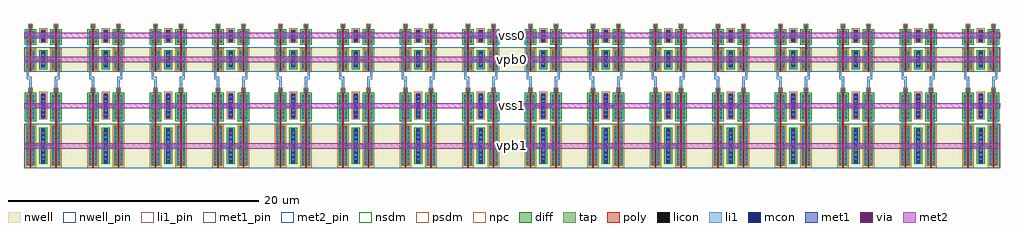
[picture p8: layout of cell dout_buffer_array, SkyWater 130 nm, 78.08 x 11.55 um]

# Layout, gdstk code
from math import pi, radians
import gdstk
lib = gdstk.Library(unit=1e-6, precision=1e-09)
def R(c, l, rs):  # rectangles x0, y0, x1, y1
    for r in rs: c.add(gdstk.rectangle(r[:2], r[2:], *l))
def A(c, l, x, y, w, h, nx, ny, dx, dy):  # array of equal rectangles
    R(c, l, [(x+i*dx, y+j*dy, x+i*dx+w, y+j*dy+h) for i in range(nx) for j in range(ny)])
nwell_pin = (64, 16)
nwell = (64, 20)
diff = (65, 20)
tap = (65, 44)
poly = (66, 20)
licon = (66, 44)
li1_pin = (67, 16)
li1 = (67, 20)
mcon = (67, 44)
met1_pin = (68, 16)
met1 = (68, 20)
via = (68, 44)
met2_pin = (69, 16)
met2 = (69, 20)
nsdm = (93, 44)
psdm = (94, 20)
npc = (95, 20)

polyc_1x1h = lib.new_cell('polyc_1x1h')
R(polyc_1x1h, poly, [(-0.08,-0.05,0.25,0.22)])
R(polyc_1x1h, licon, [(0,0,0.17,0.17)])
R(polyc_1x1h, li1, [(-0.08,0,0.25,0.17)])
R(polyc_1x1h, npc, [(-0.1,-0.1,0.27,0.27)])

ndiffc_1x3h = lib.new_cell('ndiffc_1x3h')
R(ndiffc_1x3h, diff, [(-0.06,-0.04,0.91,0.21)])
A(ndiffc_1x3h, licon, 0, 0, 0.17, 0.17, 3, 1, 0.34, 0)
R(ndiffc_1x3h, li1, [(-0.08,0,0.93,0.17)])
R(ndiffc_1x3h, nsdm, [(-0.185,-0.165,1.035,0.335)])

pdiffc_1x4h = lib.new_cell('pdiffc_1x4h')
R(pdiffc_1x4h, nwell, [(-0.24,-0.22,1.43,0.39)])
R(pdiffc_1x4h, diff, [(-0.06,-0.04,1.25,0.21)])
A(pdiffc_1x4h, licon, 0, 0, 0.17, 0.17, 4, 1, 0.34, 0)
R(pdiffc_1x4h, li1, [(-0.08,0,1.27,0.17)])
R(pdiffc_1x4h, psdm, [(-0.185,-0.165,1.375,0.335)])

ptx__nmos_svt_1000_150_1 = lib.new_cell('ptx__nmos_svt_1000_150_1__pmos_svt_1600_150_1')
R(ptx__nmos_svt_1000_150_1, nwell, [(1.34,-0.18,3.3,0.86)])
R(ptx__nmos_svt_1000_150_1, diff, [(0,0,1,0.68), (1.52,0,3.12,0.68)])
R(ptx__nmos_svt_1000_150_1, poly, [(-0.19,0.265,3.25,0.415)])
R(ptx__nmos_svt_1000_150_1, nsdm, [(-0.125,-0.125,1.125,0.805)])
R(ptx__nmos_svt_1000_150_1, psdm, [(1.395,-0.125,3.245,0.805)])
R(ptx__nmos_svt_1000_150_1, npc, [(-0.54,0.155,-0.17,0.525)])
ptx__nmos_svt_1000_150_1.add(gdstk.Reference(polyc_1x1h, (-0.44,0.255)))
ptx__nmos_svt_1000_150_1.add(gdstk.Reference(ndiffc_1x3h, (0.075,0.04)))
ptx__nmos_svt_1000_150_1.add(gdstk.Reference(pdiffc_1x4h, (1.725,0.04)))
ptx__nmos_svt_1000_150_1.add(gdstk.Reference(ndiffc_1x3h, (0.075,0.47)))
ptx__nmos_svt_1000_150_1.add(gdstk.Reference(pdiffc_1x4h, (1.725,0.47)))

dout_buffer_array_cell_i = lib.new_cell('dout_buffer_array_cell_inv1')
R(dout_buffer_array_cell_i, li1, [(-0.005,0.47,2.995,0.64)])
dout_buffer_array_cell_i.add(gdstk.Reference(ptx__nmos_svt_1000_150_1, (0,0)))

ndiffc_1x6h = lib.new_cell('ndiffc_1x6h')
R(ndiffc_1x6h, diff, [(-0.06,-0.04,1.93,0.21)])
A(ndiffc_1x6h, licon, 0, 0, 0.17, 0.17, 6, 1, 0.34, 0)
R(ndiffc_1x6h, li1, [(-0.08,0,1.95,0.17)])
R(ndiffc_1x6h, nsdm, [(-0.185,-0.165,2.055,0.335)])

pdiffc_1x9h = lib.new_cell('pdiffc_1x9h')
R(pdiffc_1x9h, nwell, [(-0.24,-0.22,3.13,0.39)])
R(pdiffc_1x9h, diff, [(-0.06,-0.04,2.95,0.21)])
A(pdiffc_1x9h, licon, 0, 0, 0.17, 0.17, 9, 1, 0.34, 0)
R(pdiffc_1x9h, li1, [(-0.08,0,2.97,0.17)])
R(pdiffc_1x9h, psdm, [(-0.185,-0.165,3.075,0.335)])

ptx__nmos_svt_2000_150_1 = lib.new_cell('ptx__nmos_svt_2000_150_1__pmos_svt_3200_150_1')
R(ptx__nmos_svt_2000_150_1, nwell, [(2.34,-0.18,5.9,0.86)])
R(ptx__nmos_svt_2000_150_1, diff, [(0,0,2,0.68), (2.52,0,5.72,0.68)])
R(ptx__nmos_svt_2000_150_1, poly, [(-0.19,0.265,5.85,0.415)])
R(ptx__nmos_svt_2000_150_1, nsdm, [(-0.125,-0.125,2.125,0.805)])
R(ptx__nmos_svt_2000_150_1, psdm, [(2.395,-0.125,5.845,0.805)])
R(ptx__nmos_svt_2000_150_1, npc, [(-0.54,0.155,-0.17,0.525)])
ptx__nmos_svt_2000_150_1.add(gdstk.Reference(polyc_1x1h, (-0.44,0.255)))
ptx__nmos_svt_2000_150_1.add(gdstk.Reference(ndiffc_1x6h, (0.065,0.04)))
ptx__nmos_svt_2000_150_1.add(gdstk.Reference(pdiffc_1x9h, (2.675,0.04)))
ptx__nmos_svt_2000_150_1.add(gdstk.Reference(ndiffc_1x6h, (0.065,0.47)))
ptx__nmos_svt_2000_150_1.add(gdstk.Reference(pdiffc_1x9h, (2.675,0.47)))

c_dout_buffer_array_cell_i = lib.new_cell('dout_buffer_array_cell_inv2')
R(c_dout_buffer_array_cell_i, li1, [(-0.015,0.47,5.645,0.64)])
c_dout_buffer_array_cell_i.add(gdstk.Reference(ptx__nmos_svt_2000_150_1, (0,0)))

ptap_1x3v = lib.new_cell('ptap_1x3v')
R(ptap_1x3v, tap, [(-0.04,-0.12,0.89,0.29)])
A(ptap_1x3v, licon, 0, 0, 0.17, 0.17, 3, 1, 0.34, 0)
R(ptap_1x3v, li1, [(0,-0.08,0.85,0.25)])
R(ptap_1x3v, psdm, [(-0.165,-0.245,1.015,0.415)])

viali_1x3v = lib.new_cell('viali_1x3v')
R(viali_1x3v, li1, [(0,0,0.89,0.17)])
A(viali_1x3v, mcon, 0, 0, 0.17, 0.17, 3, 1, 0.36, 0)
R(viali_1x3v, met1, [(-0.03,-0.06,0.92,0.23)])

col_inv_ptap_cell_3 = lib.new_cell('col_inv_ptap_cell_3')
col_inv_ptap_cell_3.add(gdstk.Reference(ptap_1x3v, (0,0)))
col_inv_ptap_cell_3.add(gdstk.Reference(viali_1x3v, (-0.02,0)))

ntap_1x4v = lib.new_cell('ntap_1x4v')
R(ntap_1x4v, tap, [(-0.04,-0.12,1.23,0.29)])
A(ntap_1x4v, licon, 0, 0, 0.17, 0.17, 4, 1, 0.34, 0)
R(ntap_1x4v, li1, [(0,-0.08,1.19,0.25)])
R(ntap_1x4v, nsdm, [(-0.165,-0.245,1.355,0.415)])

viali_1x4v = lib.new_cell('viali_1x4v')
R(viali_1x4v, li1, [(0,0,1.25,0.17)])
A(viali_1x4v, mcon, 0, 0, 0.17, 0.17, 4, 1, 0.36, 0)
R(viali_1x4v, met1, [(-0.03,-0.06,1.28,0.23)])

col_inv_ntap_cell_4 = lib.new_cell('col_inv_ntap_cell_4')
col_inv_ntap_cell_4.add(gdstk.Reference(ntap_1x4v, (0,0)))
col_inv_ntap_cell_4.add(gdstk.Reference(viali_1x4v, (-0.03,0)))

ptap_1x6v = lib.new_cell('ptap_1x6v')
R(ptap_1x6v, tap, [(-0.04,-0.12,1.91,0.29)])
A(ptap_1x6v, licon, 0, 0, 0.17, 0.17, 6, 1, 0.34, 0)
R(ptap_1x6v, li1, [(0,-0.08,1.87,0.25)])
R(ptap_1x6v, psdm, [(-0.165,-0.245,2.035,0.415)])

viali_1x6v = lib.new_cell('viali_1x6v')
R(viali_1x6v, li1, [(0,0,1.97,0.17)])
A(viali_1x6v, mcon, 0, 0, 0.17, 0.17, 6, 1, 0.36, 0)
R(viali_1x6v, met1, [(-0.03,-0.06,2,0.23)])

col_inv_ptap_cell_6 = lib.new_cell('col_inv_ptap_cell_6')
col_inv_ptap_cell_6.add(gdstk.Reference(ptap_1x6v, (0,0)))
col_inv_ptap_cell_6.add(gdstk.Reference(viali_1x6v, (-0.05,0)))

ntap_1x8v = lib.new_cell('ntap_1x8v')
R(ntap_1x8v, tap, [(-0.04,-0.12,2.59,0.29)])
A(ntap_1x8v, licon, 0, 0, 0.17, 0.17, 8, 1, 0.34, 0)
R(ntap_1x8v, li1, [(0,-0.08,2.55,0.25)])
R(ntap_1x8v, nsdm, [(-0.165,-0.245,2.715,0.415)])

viali_1x8v = lib.new_cell('viali_1x8v')
R(viali_1x8v, li1, [(0,0,2.69,0.17)])
A(viali_1x8v, mcon, 0, 0, 0.17, 0.17, 8, 1, 0.36, 0)
R(viali_1x8v, met1, [(-0.03,-0.06,2.72,0.23)])

col_inv_ntap_cell_8 = lib.new_cell('col_inv_ntap_cell_8')
col_inv_ntap_cell_8.add(gdstk.Reference(ntap_1x8v, (0,0)))
col_inv_ntap_cell_8.add(gdstk.Reference(viali_1x8v, (-0.07,0)))

dout_buffer_array_cell_r = lib.new_cell('dout_buffer_array_cell_route')
R(dout_buffer_array_cell_r, li1, [(-0.005,0.04,2.995,0.21), (2.995,0.04,3.705,0.21), (3.705,0.04,3.875,0.425), (3.875,0.255,4.59,0.425), (0.315,0.47,0.485,1.445), (2.235,0.47,2.405,1.445), (5.925,0.47,6.095,1.445), (9.145,0.47,9.315,1.445), (-0.025,1.195,0.825,1.525), (-0.025,1.195,0.825,1.525), (1.725,1.195,2.915,1.525), (1.725,1.195,2.915,1.525), (5.075,1.195,6.945,1.525), (5.075,1.195,6.945,1.525), (7.955,1.195,10.505,1.525), (7.955,1.195,10.505,1.525), (0.315,1.275,0.485,2.25), (2.235,1.275,2.405,2.25), (5.925,1.275,6.095,2.25), (9.145,1.275,9.315,2.25), (3.705,2.295,3.875,2.68), (3.875,2.295,4.59,2.465), (-0.005,2.51,2.995,2.68), (2.995,2.51,3.705,2.68)])

dout_buffer_array_cell = lib.new_cell('dout_buffer_array_cell')
R(dout_buffer_array_cell, nwell_pin, [(1.34,-0.18,3.3,2.9), (7.45,-0.18,11.01,2.9)])
R(dout_buffer_array_cell, nwell, [(1.34,-0.18,3.3,2.9), (7.45,-0.18,11.01,2.9)])
R(dout_buffer_array_cell, li1_pin, [(5.095,0.04,10.755,0.21), (-0.52,0.255,-0.19,0.425), (-0.52,2.295,-0.19,2.465), (5.095,2.51,10.755,2.68)])
R(dout_buffer_array_cell, met1_pin, [(-0.075,1.215,0.875,1.505), (1.665,1.215,2.975,1.505), (4.995,1.215,7.025,1.505), (7.855,1.215,10.605,1.505)])
dout_buffer_array_cell.add(gdstk.Reference(dout_buffer_array_cell_i, (0,0.68), x_reflection=True))
dout_buffer_array_cell.add(gdstk.Reference(c_dout_buffer_array_cell_i, (5.11,0.68), x_reflection=True))
dout_buffer_array_cell.add(gdstk.Reference(dout_buffer_array_cell_i, (0,2.04)))
dout_buffer_array_cell.add(gdstk.Reference(c_dout_buffer_array_cell_i, (5.11,2.04)))
dout_buffer_array_cell.add(gdstk.Reference(col_inv_ptap_cell_3, (-0.025,1.275)))
dout_buffer_array_cell.add(gdstk.Reference(col_inv_ntap_cell_4, (1.725,1.275)))
dout_buffer_array_cell.add(gdstk.Reference(col_inv_ptap_cell_6, (5.075,1.275)))
dout_buffer_array_cell.add(gdstk.Reference(col_inv_ntap_cell_8, (7.955,1.275)))
dout_buffer_array_cell.add(gdstk.Reference(dout_buffer_array_cell_r, (0,0)))
dout_buffer_array_cell.add(gdstk.Label('din1', (-0.355,0.34), layer=67, texttype=16))
dout_buffer_array_cell.add(gdstk.Label('dout1', (7.925,0.125), layer=67, texttype=16))
dout_buffer_array_cell.add(gdstk.Label('din2', (-0.355,2.38), layer=67, texttype=16))
dout_buffer_array_cell.add(gdstk.Label('dout2', (7.925,2.595), layer=67, texttype=16))
dout_buffer_array_cell.add(gdstk.Label('vpb0', (2.32,1.36), layer=64, texttype=16))
dout_buffer_array_cell.add(gdstk.Label('vpb1', (9.23,1.36), layer=64, texttype=16))
dout_buffer_array_cell.add(gdstk.Label('vss0', (0.4,1.36), layer=68, texttype=16))
dout_buffer_array_cell.add(gdstk.Label('vdd0', (2.32,1.36), layer=68, texttype=16))
dout_buffer_array_cell.add(gdstk.Label('vss1', (6.01,1.36), layer=68, texttype=16))
dout_buffer_array_cell.add(gdstk.Label('vdd1', (9.23,1.36), layer=68, texttype=16))

dout_buffer_array_array = lib.new_cell('dout_buffer_array_array')
dout_buffer_array_array.add(gdstk.Reference(dout_buffer_array_cell, (0,0)))
dout_buffer_array_array.add(gdstk.Reference(dout_buffer_array_cell, (0,5)))
dout_buffer_array_array.add(gdstk.Reference(dout_buffer_array_cell, (0,10)))
dout_buffer_array_array.add(gdstk.Reference(dout_buffer_array_cell, (0,15)))
dout_buffer_array_array.add(gdstk.Reference(dout_buffer_array_cell, (0,20)))
dout_buffer_array_array.add(gdstk.Reference(dout_buffer_array_cell, (0,25)))
dout_buffer_array_array.add(gdstk.Reference(dout_buffer_array_cell, (0,30)))
dout_buffer_array_array.add(gdstk.Reference(dout_buffer_array_cell, (0,35)))
dout_buffer_array_array.add(gdstk.Reference(dout_buffer_array_cell, (0,40)))
dout_buffer_array_array.add(gdstk.Reference(dout_buffer_array_cell, (0,45)))
dout_buffer_array_array.add(gdstk.Reference(dout_buffer_array_cell, (0,50)))
dout_buffer_array_array.add(gdstk.Reference(dout_buffer_array_cell, (0,55)))
dout_buffer_array_array.add(gdstk.Reference(dout_buffer_array_cell, (0,60)))
dout_buffer_array_array.add(gdstk.Reference(dout_buffer_array_cell, (0,65)))
dout_buffer_array_array.add(gdstk.Reference(dout_buffer_array_cell, (0,70)))
dout_buffer_array_array.add(gdstk.Reference(dout_buffer_array_cell, (0,75)))

via1_1x1v = lib.new_cell('via1_1x1v')
R(via1_1x1v, met1, [(-0.055,-0.085,0.205,0.235)])
R(via1_1x1v, via, [(0,0,0.15,0.15)])
R(via1_1x1v, met2, [(-0.055,-0.085,0.205,0.235)])

dout_buffer_array_route = lib.new_cell('dout_buffer_array_route')
R(dout_buffer_array_route, met2, [(-0.18,-9.44,77.9,-9.02), (-0.18,-6.22,77.9,-5.8), (-0.18,-2.53,77.9,-2.11), (-0.18,-0.61,77.9,-0.19)])
dout_buffer_array_route.add(gdstk.Reference(via1_1x1v, (1.285,-0.475)))
dout_buffer_array_route.add(gdstk.Reference(via1_1x1v, (6.285,-0.475)))
dout_buffer_array_route.add(gdstk.Reference(via1_1x1v, (11.285,-0.475)))
dout_buffer_array_route.add(gdstk.Reference(via1_1x1v, (16.285,-0.475)))
dout_buffer_array_route.add(gdstk.Reference(via1_1x1v, (21.285,-0.475)))
dout_buffer_array_route.add(gdstk.Reference(via1_1x1v, (26.285,-0.475)))
dout_buffer_array_route.add(gdstk.Reference(via1_1x1v, (31.285,-0.475)))
dout_buffer_array_route.add(gdstk.Reference(via1_1x1v, (36.285,-0.475)))
dout_buffer_array_route.add(gdstk.Reference(via1_1x1v, (41.285,-0.475)))
dout_buffer_array_route.add(gdstk.Reference(via1_1x1v, (46.285,-0.475)))
dout_buffer_array_route.add(gdstk.Reference(via1_1x1v, (51.285,-0.475)))
dout_buffer_array_route.add(gdstk.Reference(via1_1x1v, (56.285,-0.475)))
dout_buffer_array_route.add(gdstk.Reference(via1_1x1v, (61.285,-0.475)))
dout_buffer_array_route.add(gdstk.Reference(via1_1x1v, (66.285,-0.475)))
dout_buffer_array_route.add(gdstk.Reference(via1_1x1v, (71.285,-0.475)))
dout_buffer_array_route.add(gdstk.Reference(via1_1x1v, (76.285,-0.475)))
dout_buffer_array_route.add(gdstk.Reference(via1_1x1v, (1.285,-2.395)))
dout_buffer_array_route.add(gdstk.Reference(via1_1x1v, (6.285,-2.395)))
dout_buffer_array_route.add(gdstk.Reference(via1_1x1v, (11.285,-2.395)))
dout_buffer_array_route.add(gdstk.Reference(via1_1x1v, (16.285,-2.395)))
dout_buffer_array_route.add(gdstk.Reference(via1_1x1v, (21.285,-2.395)))
dout_buffer_array_route.add(gdstk.Reference(via1_1x1v, (26.285,-2.395)))
dout_buffer_array_route.add(gdstk.Reference(via1_1x1v, (31.285,-2.395)))
dout_buffer_array_route.add(gdstk.Reference(via1_1x1v, (36.285,-2.395)))
dout_buffer_array_route.add(gdstk.Reference(via1_1x1v, (41.285,-2.395)))
dout_buffer_array_route.add(gdstk.Reference(via1_1x1v, (46.285,-2.395)))
dout_buffer_array_route.add(gdstk.Reference(via1_1x1v, (51.285,-2.395)))
dout_buffer_array_route.add(gdstk.Reference(via1_1x1v, (56.285,-2.395)))
dout_buffer_array_route.add(gdstk.Reference(via1_1x1v, (61.285,-2.395)))
dout_buffer_array_route.add(gdstk.Reference(via1_1x1v, (66.285,-2.395)))
dout_buffer_array_route.add(gdstk.Reference(via1_1x1v, (71.285,-2.395)))
dout_buffer_array_route.add(gdstk.Reference(via1_1x1v, (76.285,-2.395)))
dout_buffer_array_route.add(gdstk.Reference(via1_1x1v, (1.285,-6.085)))
dout_buffer_array_route.add(gdstk.Reference(via1_1x1v, (6.285,-6.085)))
dout_buffer_array_route.add(gdstk.Reference(via1_1x1v, (11.285,-6.085)))
dout_buffer_array_route.add(gdstk.Reference(via1_1x1v, (16.285,-6.085)))
dout_buffer_array_route.add(gdstk.Reference(via1_1x1v, (21.285,-6.085)))
dout_buffer_array_route.add(gdstk.Reference(via1_1x1v, (26.285,-6.085)))
dout_buffer_array_route.add(gdstk.Reference(via1_1x1v, (31.285,-6.085)))
dout_buffer_array_route.add(gdstk.Reference(via1_1x1v, (36.285,-6.085)))
dout_buffer_array_route.add(gdstk.Reference(via1_1x1v, (41.285,-6.085)))
dout_buffer_array_route.add(gdstk.Reference(via1_1x1v, (46.285,-6.085)))
dout_buffer_array_route.add(gdstk.Reference(via1_1x1v, (51.285,-6.085)))
dout_buffer_array_route.add(gdstk.Reference(via1_1x1v, (56.285,-6.085)))
dout_buffer_array_route.add(gdstk.Reference(via1_1x1v, (61.285,-6.085)))
dout_buffer_array_route.add(gdstk.Reference(via1_1x1v, (66.285,-6.085)))
dout_buffer_array_route.add(gdstk.Reference(via1_1x1v, (71.285,-6.085)))
dout_buffer_array_route.add(gdstk.Reference(via1_1x1v, (76.285,-6.085)))
dout_buffer_array_route.add(gdstk.Reference(via1_1x1v, (1.285,-9.305)))
dout_buffer_array_route.add(gdstk.Reference(via1_1x1v, (6.285,-9.305)))
dout_buffer_array_route.add(gdstk.Reference(via1_1x1v, (11.285,-9.305)))
dout_buffer_array_route.add(gdstk.Reference(via1_1x1v, (16.285,-9.305)))
dout_buffer_array_route.add(gdstk.Reference(via1_1x1v, (21.285,-9.305)))
dout_buffer_array_route.add(gdstk.Reference(via1_1x1v, (26.285,-9.305)))
dout_buffer_array_route.add(gdstk.Reference(via1_1x1v, (31.285,-9.305)))
dout_buffer_array_route.add(gdstk.Reference(via1_1x1v, (36.285,-9.305)))
dout_buffer_array_route.add(gdstk.Reference(via1_1x1v, (41.285,-9.305)))
dout_buffer_array_route.add(gdstk.Reference(via1_1x1v, (46.285,-9.305)))
dout_buffer_array_route.add(gdstk.Reference(via1_1x1v, (51.285,-9.305)))
dout_buffer_array_route.add(gdstk.Reference(via1_1x1v, (56.285,-9.305)))
dout_buffer_array_route.add(gdstk.Reference(via1_1x1v, (61.285,-9.305)))
dout_buffer_array_route.add(gdstk.Reference(via1_1x1v, (66.285,-9.305)))
dout_buffer_array_route.add(gdstk.Reference(via1_1x1v, (71.285,-9.305)))
dout_buffer_array_route.add(gdstk.Reference(via1_1x1v, (76.285,-9.305)))

dout_buffer_array = lib.new_cell('dout_buffer_array')
R(dout_buffer_array, nwell_pin, [(-0.18,-11.01,77.9,-7.45), (-0.18,-3.3,77.9,-1.34)])
R(dout_buffer_array, nwell, [(-0.18,-11.01,77.9,-7.45), (-0.18,-3.3,77.9,-1.34)])
R(dout_buffer_array, met2_pin, [(-0.18,-9.44,77.9,-9.02), (-0.18,-6.22,77.9,-5.8), (-0.18,-2.53,77.9,-2.11), (-0.18,-0.61,77.9,-0.19)])
dout_buffer_array.add(gdstk.Reference(dout_buffer_array_array, (0,0), rotation=3*pi/2))
dout_buffer_array.add(gdstk.Reference(dout_buffer_array_route, (0,0)))
dout_buffer_array.add(gdstk.Label('vpb0', (38.86,-2.32), layer=64, texttype=16))
dout_buffer_array.add(gdstk.Label('vpb1', (38.86,-9.23), layer=64, texttype=16))
dout_buffer_array.add(gdstk.Label('vss0', (38.86,-0.4), layer=69, texttype=16))
dout_buffer_array.add(gdstk.Label('vdd0', (38.86,-2.32), layer=69, texttype=16))
dout_buffer_array.add(gdstk.Label('vss1', (38.86,-6.01), layer=69, texttype=16))
dout_buffer_array.add(gdstk.Label('vdd1', (38.86,-9.23), layer=69, texttype=16))

lib.write_gds('dout_buffer_array.gds')
